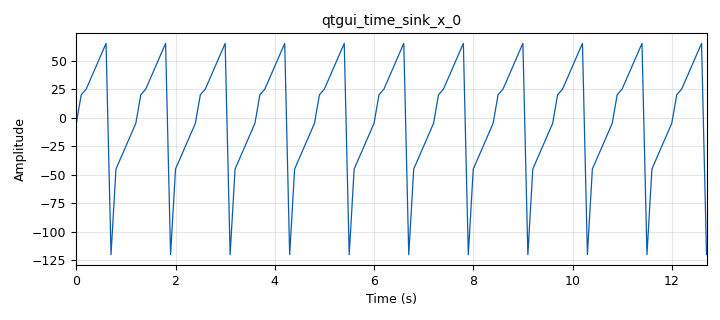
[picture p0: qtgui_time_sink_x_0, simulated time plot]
options:
  parameters:
    generate_options: qt_gui
    id: test1
    output_language: python
    title: Not titled yet
  states: {}

blocks:
- name: samp_rate
  id: variable
  parameters:
    value: '10'
  states: {}
- name: blocks_throttle_0
  id: blocks_throttle
  parameters:
    samples_per_second: '5'
    type: float
  states: {state: disabled}
- name: blocks_vector_source_x_0
  id: blocks_vector_source_x
  parameters:
    repeat: 'True'
    type: float
    vector: (1.0, 2.0, 4.0, 7.0, 11.0, 16.0, 22.0,16.0, 11.0, 7.0, 4.0, 2.0)
  states: {}
- name: epy_block_0
  id: epy_block
  parameters:
    _source_code: |
      import numpy as np
      from gnuradio import gr

      class blk(gr.sync_block):

          def __init__(self):
              gr.sync_block.__init__(
                  self,
                  name="e_Diff_2ndOrder",
                  in_sig=[np.float32],
                  out_sig=[np.float32]
              )

              # Frecuencia de muestreo
              self.fs = 10.0
              self.Ts = 1.0 / self.fs

              # Guardamos las dos muestras anteriores
              self.x_prev1 = 0.0
              self.x_prev2 = 0.0

          def work(self, input_items, output_items):
              x = input_items[0]
              y = output_items[0]

              # Extendemos con las dos muestras previas
              x_ext = np.concatenate(([self.x_prev2, self.x_prev1], x))

              # Derivada hacia atrás de orden 2:
              # y[n] = (3x[n] - 4x[n-1] + x[n-2]) / (2Ts)
              y[:] = (3*x_ext[2:] - 4*x_ext[1:-1] + x_ext[:-2]) / (2.0 * self.Ts)

              # Actualizamos memoria
              self.x_prev2 = x_ext[-2]
              self.x_prev1 = x_ext[-1]

              return len(y)
  states: {}
- name: qtgui_time_sink_x_0
  id: qtgui_time_sink_x
  parameters:
    autoscale: 'True'
    size: '128'
    srate: samp_rate
    type: float
    update_time: '0.1'
  states: {}

connections:
- [blocks_vector_source_x_0, '0', blocks_throttle_0, '0']
- [blocks_vector_source_x_0, '0', epy_block_0, '0']
- [epy_block_0, '0', qtgui_time_sink_x_0, '0']

metadata:
  file_format: 1
